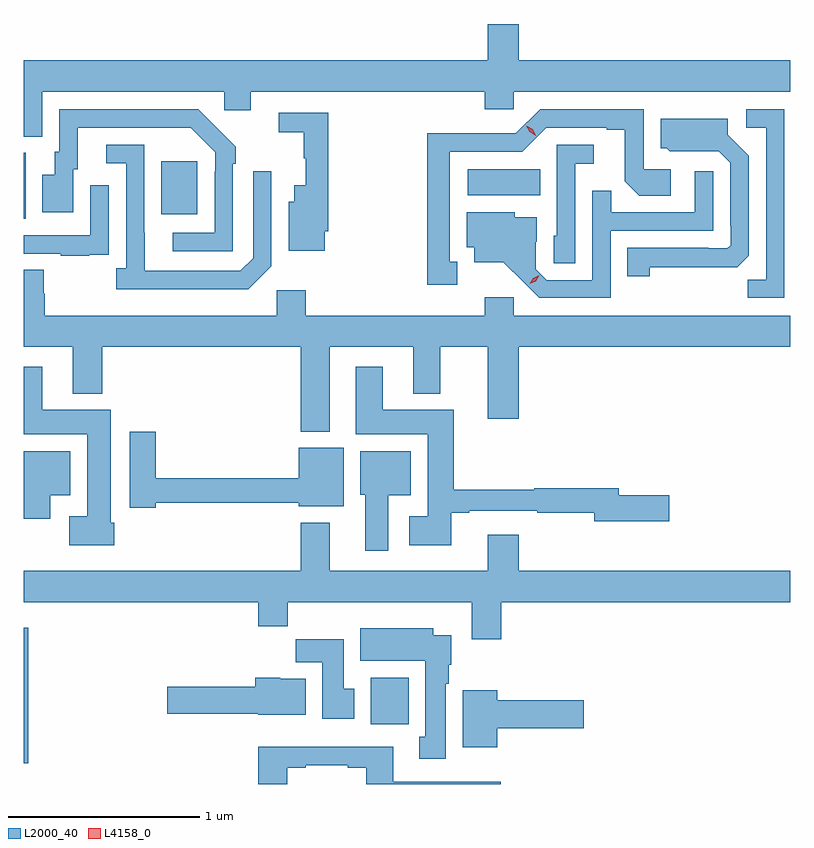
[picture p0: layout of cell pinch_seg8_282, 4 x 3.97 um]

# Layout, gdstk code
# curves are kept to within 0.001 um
import gdstk
lib = gdstk.Library(unit=1e-6, precision=1e-09)
def R(c, l, rs):  # rectangles x0, y0, x1, y1
    for r in rs: c.add(gdstk.rectangle(r[:2], r[2:], *l))
def P(c, l, *ps):  # polygons
    for p in ps: c.add(gdstk.Polygon(p, *l))
L2000_40 = (2000, 40)
L4158_0 = (4158, 0)

pinch_seg8_282 = lib.new_cell('pinch_seg8_282')
R(pinch_seg8_282, L2000_40, [(510.24,1132.976,510.263,1133.683), (512.051,1133.18,512.248,1133.422), (510.24,1135.816,510.25,1136.16), (510.959,1135.841,511.147,1136.116), (512.556,1135.94,512.936,1136.074)])
P(pinch_seg8_282, L2000_40, [(510.337,1136.48),(511.287,1136.48),(511.287,1136.382),(511.426,1136.382),(511.426,1136.48),(512.645,1136.48),(512.645,1136.387),(512.796,1136.387),(512.796,1136.48),(514.24,1136.48),(514.24,1136.644),(512.824,1136.644),(512.824,1136.833),(512.66,1136.833),(512.66,1136.644),(510.24,1136.644),(510.24,1136.245),(510.337,1136.245)],
  [(514.209,1136.388),(514.011,1136.388),(514.011,1136.292),(514.113,1136.292),(514.113,1135.499),(514.018,1135.499),(514.018,1135.404),(514.209,1135.404)],
  [(512.503,1135.593),(512.464,1135.593),(512.464,1136.166),(512.841,1136.166),(512.967,1136.292),(513.281,1136.292),(513.281,1136.28),(513.375,1136.28),(513.375,1136.012),(513.451,1135.936),(513.616,1135.936),(513.616,1136.076),(513.474,1136.076),(513.474,1136.388),(512.934,1136.388),(512.808,1136.262),(512.586,1136.262),(512.586,1136.264),(512.346,1136.264),(512.346,1135.473),(512.503,1135.473)],
  [(511.332,1136.105),(511.347,1136.105),(511.347,1136.193),(511.15,1136.388),(510.426,1136.388),(510.426,1136.166),(510.401,1136.166),(510.401,1136.047),(510.338,1136.047),(510.338,1135.851),(510.499,1135.851),(510.499,1136.076),(510.523,1136.076),(510.523,1136.292),(511.111,1136.292),(511.239,1136.163),(511.239,1136.063),(511.236,1136.063),(511.236,1135.743),(511.017,1135.743),(511.017,1135.647),(511.332,1135.647)],
  [(511.81,1135.753),(511.829,1135.753),(511.829,1136.37),(511.572,1136.37),(511.572,1136.269),(511.701,1136.269),(511.701,1136.133),(511.712,1136.133),(511.712,1135.993),(511.652,1135.993),(511.652,1135.906),(511.622,1135.906),(511.622,1135.649),(511.81,1135.649)],
  [(513.507,1135.564),(513.964,1135.565),(514.023,1135.624),(514.023,1136.146),(513.913,1136.256),(513.913,1136.338),(513.563,1136.338),(513.563,1136.184),(513.594,1136.184),(513.61,1136.168),(513.867,1136.169),(513.927,1136.109),(513.927,1135.78),(513.93,1135.78),(513.93,1135.68),(513.912,1135.662),(513.812,1135.662),(513.812,1135.665),(513.388,1135.665),(513.388,1135.518),(513.507,1135.518)],
  [(511.533,1135.569),(511.533,1136.065),(511.437,1136.065),(511.437,1135.611),(511.371,1135.545),(510.871,1135.545),(510.87,1136.202),(510.672,1136.202),(510.672,1136.106),(510.774,1136.106),(510.774,1135.558),(510.723,1135.558),(510.723,1135.448),(511.412,1135.448)],
  [(513.117,1136.105),(513.214,1136.105),(513.214,1136.202),(513.021,1136.202),(513.021,1135.728),(513.006,1135.728),(513.006,1135.585),(513.117,1135.585)],
  [(513.303,1135.755),(513.837,1135.755),(513.837,1136.065),(513.741,1136.065),(513.741,1135.851),(513.305,1135.851),(513.305,1135.964),(513.207,1135.964),(513.207,1135.497),(512.97,1135.497),(512.913,1135.554),(512.913,1135.696),(512.917,1135.696),(512.917,1135.825),(512.802,1135.825),(512.802,1135.852),(512.552,1135.852),(512.552,1135.668),(512.591,1135.668),(512.591,1135.589),(512.743,1135.589),(512.93,1135.404),(513.303,1135.404)],
  [(510.581,1135.629),(510.683,1135.629),(510.683,1135.738),(510.684,1135.738),(510.684,1135.993),(510.588,1135.993),(510.588,1135.731),(510.24,1135.731),(510.24,1135.635),(510.433,1135.635),(510.433,1135.623),(510.581,1135.623)],
  [(512.796,1135.408),(512.645,1135.408),(512.645,1135.312),(511.712,1135.312),(511.712,1135.444),(511.56,1135.444),(511.56,1135.312),(510.35,1135.312),(510.35,1135.425),(510.345,1135.425),(510.345,1135.55),(510.24,1135.55),(510.24,1135.148),(510.497,1135.148),(510.497,1134.905),(510.65,1134.905),(510.65,1135.148),(511.685,1135.148),(511.685,1134.707),(511.837,1134.707),(511.837,1135.148),(512.273,1135.148),(512.273,1134.905),(512.413,1134.905),(512.413,1135.148),(512.66,1135.148),(512.66,1134.774),(512.824,1134.774),(512.824,1135.148),(514.24,1135.148),(514.24,1135.312),(512.796,1135.312)],
  [(510.712,1134.231),(510.694,1134.231),(510.694,1134.82),(510.337,1134.82),(510.337,1135.045),(510.24,1135.045),(510.24,1134.692),(510.572,1134.692),(510.572,1134.265),(510.477,1134.265),(510.477,1134.113),(510.712,1134.113)],
  [(512.47,1134.282),(512.566,1134.282),(512.566,1134.294),(512.92,1134.294),(512.92,1134.282),(513.218,1134.282),(513.218,1134.239),(513.607,1134.239),(513.607,1134.374),(513.346,1134.374),(513.346,1134.41),(512.904,1134.41),(512.904,1134.403),(512.483,1134.403),(512.483,1134.82),(512.113,1134.82),(512.113,1135.045),(511.973,1135.045),(511.973,1134.692),(512.348,1134.692),(512.348,1134.265),(512.253,1134.265),(512.253,1134.113),(512.47,1134.113)],
  [(510.929,1134.336),(511.676,1134.336),(511.676,1134.317),(511.909,1134.317),(511.909,1134.622),(511.676,1134.622),(511.676,1134.464),(510.929,1134.464),(510.929,1134.706),(510.794,1134.706),(510.794,1134.31),(510.929,1134.31)],
  [(510.379,1134.374),(510.484,1134.374),(510.484,1134.604),(510.24,1134.604),(510.24,1134.252),(510.379,1134.252)],
  [(512.143,1134.374),(512.26,1134.374),(512.26,1134.604),(511.997,1134.604),(511.997,1134.378),(512.021,1134.378),(512.021,1134.084),(512.143,1134.084)],
  [(512.732,1133.816),(514.24,1133.816),(514.24,1133.98),(512.824,1133.98),(512.824,1134.169),(512.66,1134.169),(512.66,1133.98),(511.837,1133.98),(511.837,1134.232),(511.685,1134.232),(511.685,1133.98),(510.24,1133.98),(510.24,1133.816),(511.463,1133.816),(511.463,1133.692),(511.619,1133.692),(511.619,1133.816),(512.579,1133.816),(512.579,1133.622),(512.732,1133.622)],
  [(512.443,1133.39),(512.458,1133.39),(512.458,1133.49),(512.47,1133.49),(512.47,1133.644),(512.377,1133.644),(512.377,1133.68),(511.997,1133.68),(511.997,1133.51),(512.336,1133.51),(512.336,1133.114),(512.303,1133.114),(512.303,1133.001),(512.443,1133.001)],
  [(511.966,1133.364),(511.909,1133.364),(511.909,1133.622),(511.66,1133.622),(511.66,1133.504),(511.799,1133.504),(511.799,1133.208),(511.966,1133.208)],
  [(511.711,1133.416),(511.578,1133.416),(511.578,1133.422),(511.448,1133.422),(511.448,1133.376),(510.99,1133.376),(510.99,1133.234),(511.464,1133.234),(511.464,1133.228),(511.711,1133.228)],
  [(512.71,1133.159),(513.163,1133.159),(513.163,1133.306),(512.71,1133.306),(512.71,1133.356),(512.531,1133.356),(512.531,1133.06),(512.71,1133.06)],
  [(511.615,1132.953),(511.711,1132.953),(511.711,1132.965),(511.931,1132.965),(511.931,1132.953),(512.027,1132.953),(512.027,1132.868),(512.728,1132.868),(512.728,1132.881),(512.167,1132.881),(512.167,1133.062),(511.463,1133.062),(511.463,1132.868),(511.615,1132.868)])
P(pinch_seg8_282, L4158_0, [(512.88,1135.477),(512.88,1135.477),(512.898,1135.506),(512.929,1135.521),(512.929,1135.521),(512.929,1135.521),(512.912,1135.492),(512.881,1135.477)],
  [(512.912,1136.251),(512.88,1136.27),(512.863,1136.302),(512.863,1136.302),(512.863,1136.302),(512.895,1136.283),(512.912,1136.251),(512.912,1136.251)])

lib.write_gds('pinch_seg8_282.gds')
